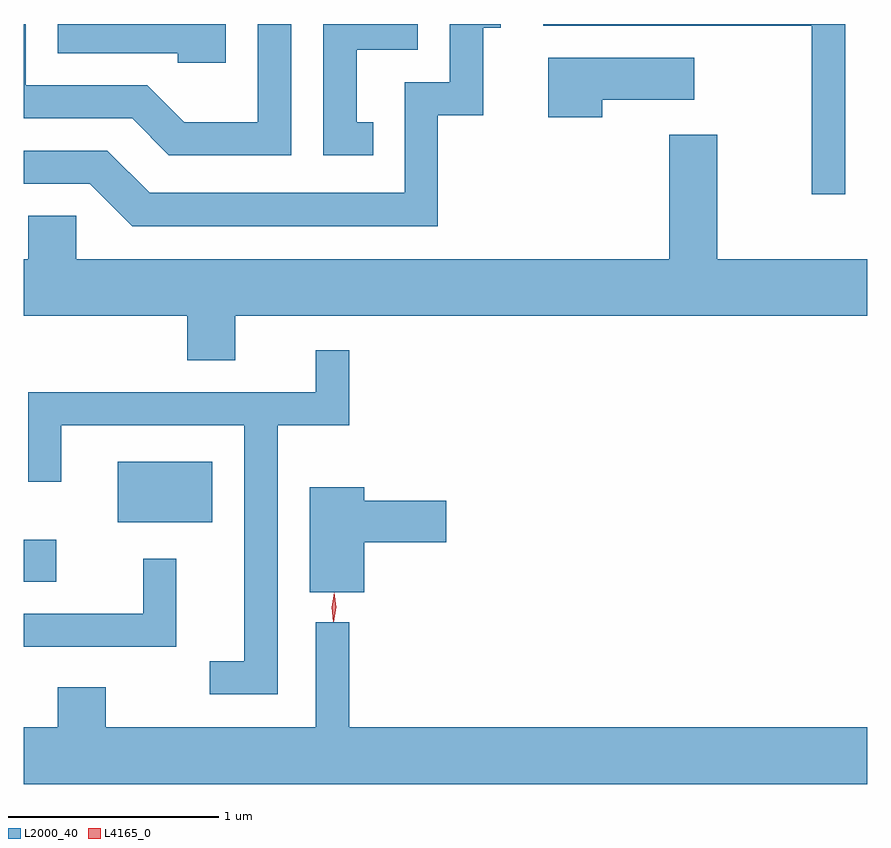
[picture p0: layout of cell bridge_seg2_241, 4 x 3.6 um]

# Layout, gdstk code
import gdstk
lib = gdstk.Library(unit=1e-6, precision=1e-09)
def R(c, l, rs):  # rectangles x0, y0, x1, y1
    for r in rs: c.add(gdstk.rectangle(r[:2], r[2:], *l))
def P(c, l, *ps):  # polygons
    for p in ps: c.add(gdstk.Polygon(p, *l))
L2000_40 = (2000, 40)
L4165_0 = (4165, 0)

bridge_seg2_241 = lib.new_cell('bridge_seg2_241')
R(bridge_seg2_241, L2000_40, [(489.17,1058.156,489.324,1058.354), (489.616,1058.436,490.064,1058.724)])
P(bridge_seg2_241, L2000_40, [(491.134,1060.366),(491.349,1060.366),(491.349,1060.781),(491.433,1060.781),(491.433,1060.799),(491.191,1060.799),(491.191,1060.524),(490.976,1060.524),(490.976,1059.999),(489.767,1059.999),(489.567,1060.199),(489.17,1060.199),(489.17,1060.041),(489.484,1060.041),(489.684,1059.841),(491.134,1059.841)],
  [(493.064,1060.799),(491.633,1060.799),(491.633,1060.791),(492.906,1060.791),(492.906,1059.993),(493.064,1059.993)],
  [(490.129,1060.799),(489.331,1060.799),(489.331,1060.661),(489.901,1060.661),(489.901,1060.616),(490.129,1060.616)],
  [(490.439,1060.799),(490.281,1060.799),(490.281,1060.334),(489.932,1060.334),(489.757,1060.509),(489.179,1060.509),(489.179,1060.799),(489.17,1060.799),(489.17,1060.351),(489.684,1060.351),(489.859,1060.176),(490.439,1060.176)],
  [(490.828,1060.334),(490.749,1060.334),(490.749,1060.676),(491.039,1060.676),(491.039,1060.799),(490.591,1060.799),(490.591,1060.176),(490.828,1060.176)],
  [(491.914,1060.441),(492.349,1060.441),(492.349,1060.639),(491.656,1060.639),(491.656,1060.356),(491.914,1060.356)],
  [(490.174,1059.416),(493.17,1059.416),(493.17,1059.684),(492.459,1059.684),(492.459,1060.274),(492.231,1060.274),(492.231,1059.684),(489.419,1059.684),(489.419,1059.889),(489.191,1059.889),(489.191,1059.684),(489.17,1059.684),(489.17,1059.416),(489.946,1059.416),(489.946,1059.206),(490.174,1059.206)],
  [(490.374,1058.896),(490.714,1058.896),(490.714,1059.253),(490.556,1059.253),(490.556,1059.054),(489.191,1059.054),(489.191,1058.628),(489.349,1058.628),(489.349,1058.896),(490.216,1058.896),(490.216,1057.779),(490.053,1057.779),(490.053,1057.621),(490.374,1057.621)],
  [(490.784,1058.341),(491.174,1058.341),(491.174,1058.539),(490.784,1058.539),(490.784,1058.604),(490.526,1058.604),(490.526,1058.106),(490.784,1058.106)],
  [(489.894,1058.263),(489.736,1058.263),(489.736,1058.004),(489.17,1058.004),(489.17,1057.846),(489.894,1057.846)],
  [(493.17,1057.464),(490.714,1057.464),(490.714,1057.963),(490.556,1057.963),(490.556,1057.464),(489.559,1057.464),(489.559,1057.654),(489.331,1057.654),(489.331,1057.464),(489.17,1057.464),(489.17,1057.196),(493.17,1057.196)])
P(bridge_seg2_241, L4165_0, [(490.639,1057.968),(490.631,1058.034),(490.642,1058.099),(490.642,1058.1),(490.643,1058.099),(490.651,1058.033),(490.64,1057.968),(490.64,1057.968)],
  [(490.639,1057.965),(490.631,1058.034),(490.642,1058.102),(490.642,1058.102),(490.643,1058.102),(490.651,1058.033),(490.64,1057.965),(490.64,1057.965)])

lib.write_gds('bridge_seg2_241.gds')
